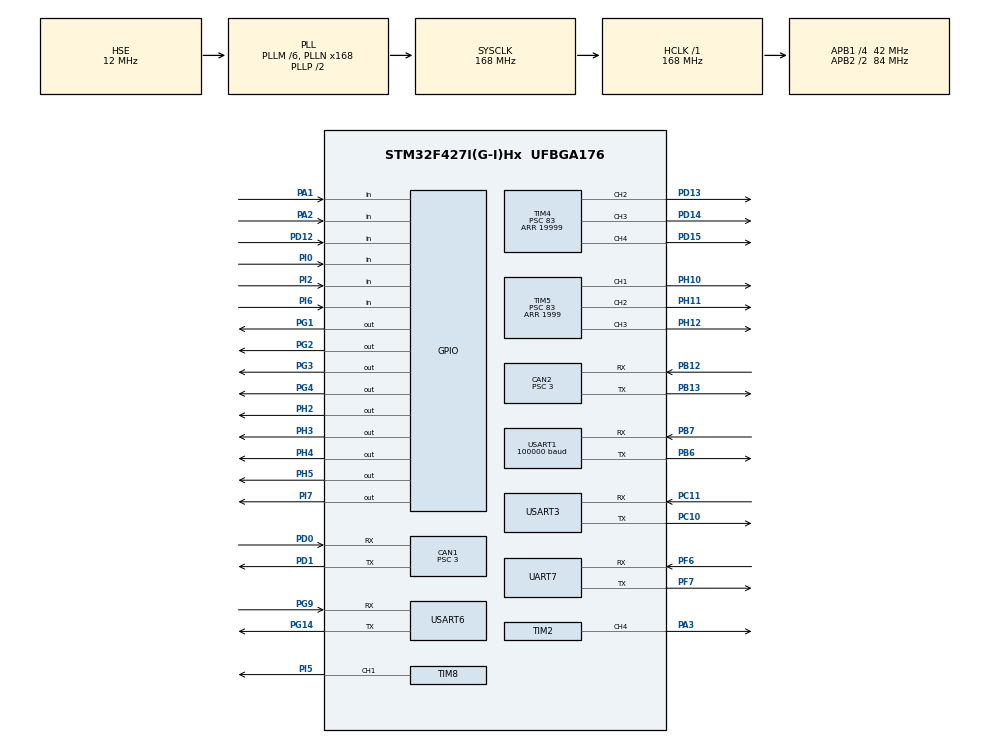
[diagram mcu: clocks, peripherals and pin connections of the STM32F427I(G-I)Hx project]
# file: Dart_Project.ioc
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CAN1.BS1=CAN_BS1_9TQ
CAN1.BS2=CAN_BS2_4TQ
CAN1.CalculateBaudRate=1000000
CAN1.CalculateTimeBit=1000
CAN1.CalculateTimeQuantum=71.42857142857143
CAN1.Prescaler=3
CAN2.BS1=CAN_BS1_9TQ
CAN2.BS2=CAN_BS2_4TQ
CAN2.CalculateBaudRate=1000000
CAN2.CalculateTimeBit=1000
CAN2.CalculateTimeQuantum=71.42857142857143
CAN2.Prescaler=3
Dma.Request0=USART1_RX
Dma.Request1=USART3_RX
Dma.Request2=USART6_RX
Dma.USART1_RX.0.Direction=DMA_PERIPH_TO_MEMORY
Dma.USART1_RX.0.FIFOMode=DMA_FIFOMODE_DISABLE
Dma.USART1_RX.0.Instance=DMA2_Stream2
Dma.USART1_RX.0.MemDataAlignment=DMA_MDATAALIGN_BYTE
Dma.USART1_RX.0.MemInc=DMA_MINC_ENABLE
Dma.USART1_RX.0.Mode=DMA_CIRCULAR
Dma.USART1_RX.0.PeriphDataAlignment=DMA_PDATAALIGN_BYTE
Dma.USART1_RX.0.PeriphInc=DMA_PINC_DISABLE
Dma.USART1_RX.0.Priority=DMA_PRIORITY_LOW
Dma.USART3_RX.1.Direction=DMA_PERIPH_TO_MEMORY
Dma.USART3_RX.1.FIFOMode=DMA_FIFOMODE_DISABLE
Dma.USART3_RX.1.Instance=DMA1_Stream1
Dma.USART3_RX.1.MemDataAlignment=DMA_MDATAALIGN_BYTE
Dma.USART3_RX.1.MemInc=DMA_MINC_ENABLE
Dma.USART3_RX.1.Mode=DMA_CIRCULAR
Dma.USART3_RX.1.PeriphDataAlignment=DMA_PDATAALIGN_BYTE
Dma.USART3_RX.1.PeriphInc=DMA_PINC_DISABLE
Dma.USART3_RX.1.Priority=DMA_PRIORITY_LOW
Dma.USART6_RX.2.Direction=DMA_PERIPH_TO_MEMORY
Dma.USART6_RX.2.FIFOMode=DMA_FIFOMODE_DISABLE
Dma.USART6_RX.2.Instance=DMA2_Stream1
Dma.USART6_RX.2.MemDataAlignment=DMA_MDATAALIGN_BYTE
Dma.USART6_RX.2.MemInc=DMA_MINC_ENABLE
Dma.USART6_RX.2.Mode=DMA_CIRCULAR
Dma.USART6_RX.2.PeriphDataAlignment=DMA_PDATAALIGN_BYTE
Dma.USART6_RX.2.PeriphInc=DMA_PINC_DISABLE
Dma.USART6_RX.2.Priority=DMA_PRIORITY_LOW
FREERTOS.Tasks01=Chassis_TASK,0,256,Chassis_Task,Default,NULL,Dynamic,NULL,NULL;Shoot_TASK,0,256,Shoot_Task,Default,NULL,Dynamic,NULL,NULL;Decide_TASK,-3,256,Decide_Task,Default,NULL,Dynamic,NULL,NULL;guangdian,-3,128,StartTask04,Default,NULL,Dynamic,NULL,NULL;shoot_part,-3,128,StartTask05,Default,NULL,Dynamic,NULL,NULL
Mcu.Family=STM32F4
Mcu.Name=STM32F427I(G-I)Hx
Mcu.Package=UFBGA176
NVIC.CAN1_RX0_IRQn=true\:5\:0\:false\:false\:true\:true\:true\:true\:true
NVIC.CAN1_RX1_IRQn=true\:5\:0\:false\:false\:true\:true\:true\:true\:true
NVIC.CAN2_RX0_IRQn=true\:5\:0\:false\:false\:true\:true\:true\:true\:true
NVIC.CAN2_RX1_IRQn=true\:5\:0\:false\:false\:true\:true\:true\:true\:true
NVIC.DMA1_Stream1_IRQn=true\:5\:0\:false\:false\:true\:true\:false\:true\:true
NVIC.DMA2_Stream1_IRQn=true\:5\:0\:false\:false\:true\:true\:false\:true\:true
NVIC.DMA2_Stream2_IRQn=true\:5\:0\:false\:false\:true\:true\:false\:true\:true
NVIC.PriorityGroup=NVIC_PRIORITYGROUP_4
NVIC.TIM2_IRQn=true\:5\:0\:false\:false\:true\:true\:true\:true\:true
NVIC.TIM6_DAC_IRQn=true\:15\:0\:false\:false\:true\:false\:false\:true\:true
NVIC.TIM8_CC_IRQn=true\:5\:0\:false\:false\:true\:true\:true\:true\:true
NVIC.TimeBase=TIM6_DAC_IRQn
NVIC.TimeBaseIP=TIM6
NVIC.UART7_IRQn=true\:5\:0\:false\:false\:true\:true\:true\:true\:true
NVIC.USART1_IRQn=true\:5\:0\:false\:false\:true\:true\:true\:true\:true
NVIC.USART3_IRQn=true\:5\:0\:false\:false\:true\:true\:true\:true\:true
NVIC.USART6_IRQn=true\:5\:0\:false\:false\:true\:true\:true\:true\:true
PA1.GPIO_PuPd=GPIO_PULLUP
PA1.Signal=GPIO_Input
PA13.Mode=Serial_Wire
PA13.Signal=SYS_JTMS-SWDIO
PA14.Mode=Serial_Wire
PA14.Signal=SYS_JTCK-SWCLK
PA2.GPIO_PuPd=GPIO_PULLUP
PA2.Signal=GPIO_Input
PA3.Signal=S_TIM2_CH4
PB12.Mode=CAN_Activate
PB12.Signal=CAN2_RX
PB13.Mode=CAN_Activate
PB13.Signal=CAN2_TX
PB6.Mode=Asynchronous
PB6.Signal=USART1_TX
PB7.Mode=Asynchronous
PB7.Signal=USART1_RX
PC10.Mode=Asynchronous
PC10.Signal=USART3_TX
PC11.Mode=Asynchronous
PC11.Signal=USART3_RX
PD0.Mode=CAN_Activate
PD0.Signal=CAN1_RX
PD1.Mode=CAN_Activate
PD1.Signal=CAN1_TX
PD12.GPIO_PuPd=GPIO_PULLUP
PD12.Signal=GPIO_Input
PD13.Signal=S_TIM4_CH2
PD14.Signal=S_TIM4_CH3
PD15.Signal=S_TIM4_CH4
PF6.Mode=Asynchronous
PF6.Signal=UART7_RX
PF7.Mode=Asynchronous
PF7.Signal=UART7_TX
PG1.PinState=GPIO_PIN_SET
PG1.Signal=GPIO_Output
PG14.Mode=Asynchronous
PG14.Signal=USART6_TX
PG2.PinState=GPIO_PIN_SET
PG2.Signal=GPIO_Output
PG3.Signal=GPIO_Output
PG4.PinState=GPIO_PIN_SET
PG4.Signal=GPIO_Output
PG9.Mode=Asynchronous
PG9.Signal=USART6_RX
PH0/OSC_IN.Mode=HSE-External-Oscillator
PH0/OSC_IN.Signal=RCC_OSC_IN
PH1/OSC_OUT.Mode=HSE-External-Oscillator
PH1/OSC_OUT.Signal=RCC_OSC_OUT
PH10.Signal=S_TIM5_CH1
PH11.Signal=S_TIM5_CH2
PH12.Signal=S_TIM5_CH3
PH2.PinState=GPIO_PIN_SET
PH2.Signal=GPIO_Output
PH3.PinState=GPIO_PIN_SET
PH3.Signal=GPIO_Output
PH4.PinState=GPIO_PIN_SET
PH4.Signal=GPIO_Output
PH5.PinState=GPIO_PIN_SET
PH5.Signal=GPIO_Output
PI0.GPIO_PuPd=GPIO_PULLUP
PI0.Signal=GPIO_Input
PI2.GPIO_PuPd=GPIO_PULLUP
PI2.Signal=GPIO_Input
PI5.Signal=S_TIM8_CH1
PI6.GPIO_PuPd=GPIO_PULLUP
PI6.Signal=GPIO_Input
PI7.Signal=GPIO_Output
ProjectManager.HeapSize=0x200
ProjectManager.StackSize=0x400
ProjectManager.TargetToolchain=MDK-ARM V5.32
RCC.48MHZClocksFreq_Value=84000000
RCC.AHBFreq_Value=168000000
RCC.APB1CLKDivider=RCC_HCLK_DIV4
RCC.APB1Freq_Value=42000000
RCC.APB1TimFreq_Value=84000000
RCC.APB2CLKDivider=RCC_HCLK_DIV2
RCC.APB2Freq_Value=84000000
RCC.APB2TimFreq_Value=168000000
RCC.CortexFreq_Value=168000000
RCC.HCLKFreq_Value=168000000
RCC.HSE_VALUE=12000000
RCC.HSI_VALUE=16000000
RCC.LSE_VALUE=32768
RCC.PLLM=6
RCC.PLLN=168
RCC.PLLSourceVirtual=RCC_PLLSOURCE_HSE
RCC.SYSCLKFreq_VALUE=168000000
RCC.SYSCLKSource=RCC_SYSCLKSOURCE_PLLCLK
RCC.VCOOutputFreq_Value=336000000
SH.S_TIM2_CH4.0=TIM2_CH4,PWM Generation4 CH4
SH.S_TIM4_CH2.0=TIM4_CH2,PWM Generation2 CH2
SH.S_TIM4_CH3.0=TIM4_CH3,PWM Generation3 CH3
SH.S_TIM4_CH4.0=TIM4_CH4,PWM Generation4 CH4
SH.S_TIM5_CH1.0=TIM5_CH1,PWM Generation1 CH1
SH.S_TIM5_CH2.0=TIM5_CH2,PWM Generation2 CH2
SH.S_TIM5_CH3.0=TIM5_CH3,PWM Generation3 CH3
SH.S_TIM8_CH1.0=TIM8_CH1,PWM Generation1 CH1
TIM2.Channel-PWM\ Generation4\ CH4=TIM_CHANNEL_4
TIM2.Period=499
TIM2.Prescaler=83
TIM4.Channel-PWM\ Generation2\ CH2=TIM_CHANNEL_2
TIM4.Channel-PWM\ Generation3\ CH3=TIM_CHANNEL_3
TIM4.Channel-PWM\ Generation4\ CH4=TIM_CHANNEL_4
TIM4.Period=19999
TIM4.Prescaler=83
TIM5.Channel-PWM\ Generation1\ CH1=TIM_CHANNEL_1
TIM5.Channel-PWM\ Generation2\ CH2=TIM_CHANNEL_2
TIM5.Channel-PWM\ Generation3\ CH3=TIM_CHANNEL_3
TIM5.Period=1999
TIM5.Prescaler=83
TIM8.Channel-PWM\ Generation1\ CH1=TIM_CHANNEL_1
TIM8.Period=1999
TIM8.Prescaler=83
UART7.VirtualMode=Asynchronous
USART1.BaudRate=100000
USART1.Parity=PARITY_EVEN
USART1.VirtualMode=VM_ASYNC
USART3.VirtualMode=VM_ASYNC
USART6.VirtualMode=VM_ASYNC
VP_FREERTOS_VS_CMSIS_V1.Mode=CMSIS_V1
VP_SYS_VS_tim6.Mode=TIM6
board=custom

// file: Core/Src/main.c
/* USER CODE BEGIN Header */
/**
  ******************************************************************************
  * @file           : main.c
  * @brief          : Main program body
  ******************************************************************************
  * @attention
  *
  * <h2><center>&copy; Copyright (c) 2021 STMicroelectronics.
  * All rights reserved.</center></h2>
  *
  * This software component is licensed by ST under Ultimate Liberty license
  * SLA0044, the "License"; You may not use this file except in compliance with
  * the License. You may obtain a copy of the License at:
  *                             www.st.com/SLA0044
  *
  ******************************************************************************
  */
/* USER CODE END Header */
#include "main.h"
#include "cmsis_os.h"
#include "can.h"
#include "dma.h"
#include "tim.h"
#include "usart.h"
#include "gpio.h"

/* USER CODE BEGIN Includes */
#include "remote_control.h"
#include "Can_receive.h"
#include "stdio.h"

/* USER CODE END Includes */

void SystemClock_Config(void);
void MX_FREERTOS_Init(void);

int main(void)
{

  /* MCU Configuration--------------------------------------------------------*/

  /* Reset of all peripherals, Initializes the Flash interface and the Systick. */
  HAL_Init();

  /* Configure the system clock */
  SystemClock_Config();

  /* Initialize all configured peripherals */
  MX_GPIO_Init();
  MX_DMA_Init();
  MX_CAN1_Init();
  MX_USART1_UART_Init();
  MX_USART3_UART_Init();
  MX_USART6_UART_Init();
  MX_TIM5_Init();
  MX_CAN2_Init();
  MX_TIM4_Init();
  MX_TIM8_Init();
  MX_TIM2_Init();
  MX_UART7_Init();
  /* USER CODE BEGIN 2 */
	canfilter_init_start();
	remote_control_init();

	HAL_TIM_PWM_Start_IT(&htim2,TIM_CHANNEL_4);
	HAL_TIM_PWM_Start_IT(&htim8,TIM_CHANNEL_1);

	HAL_TIM_PWM_Start(&htim5,TIM_CHANNEL_1);  //SNAIL
	HAL_TIM_PWM_Start(&htim5,TIM_CHANNEL_2);
	HAL_TIM_PWM_Start(&htim5,TIM_CHANNEL_3);
	HAL_TIM_PWM_Start(&htim5,TIM_CHANNEL_4);

//	HAL_TIM_PWM_Start(&htim4,TIM_CHANNEL_1);  //舵机
//	HAL_TIM_PWM_Start(&htim4,TIM_CHANNEL_2);
//	HAL_TIM_PWM_Start(&htim4,TIM_CHANNEL_3);
//	HAL_TIM_PWM_Start(&htim4,TIM_CHANNEL_4);

	HAL_TIM_PWM_Start(&htim8,TIM_CHANNEL_1);
	HAL_TIM_PWM_Start(&htim2,TIM_CHANNEL_4);

	__HAL_TIM_SetCompare(&htim5,TIM_CHANNEL_1,940);
	__HAL_TIM_SetCompare(&htim5,TIM_CHANNEL_2,940);
	__HAL_TIM_SetCompare(&htim5,TIM_CHANNEL_3,940);
	__HAL_TIM_SetCompare(&htim5,TIM_CHANNEL_4,940);

	__HAL_TIM_SetCompare(&htim8,TIM_CHANNEL_1,249);
	__HAL_TIM_SetCompare(&htim2,TIM_CHANNEL_4,249);

	//HAL_Delay(7000);

  /* USER CODE END 2 */

  /* Call init function for freertos objects (in freertos.c) */
  MX_FREERTOS_Init();
  /* Start scheduler */
  osKernelStart();

  /* We should never get here as control is now taken by the scheduler */
  /* Infinite loop */
  while (1)
  {

  }
}

void SystemClock_Config(void)
{
  RCC_OscInitTypeDef RCC_OscInitStruct = {0};
  RCC_ClkInitTypeDef RCC_ClkInitStruct = {0};

  /** Configure the main internal regulator output voltage
  */
  __HAL_RCC_PWR_CLK_ENABLE();
  __HAL_PWR_VOLTAGESCALING_CONFIG(PWR_REGULATOR_VOLTAGE_SCALE1);
  /** Initializes the RCC Oscillators according to the specified parameters
  * in the RCC_OscInitTypeDef structure.
  */
  RCC_OscInitStruct.OscillatorType = RCC_OSCILLATORTYPE_HSE;
  RCC_OscInitStruct.HSEState = RCC_HSE_ON;
  RCC_OscInitStruct.PLL.PLLState = RCC_PLL_ON;
  RCC_OscInitStruct.PLL.PLLSource = RCC_PLLSOURCE_HSE;
  RCC_OscInitStruct.PLL.PLLM = 6;
  RCC_OscInitStruct.PLL.PLLN = 168;
  RCC_OscInitStruct.PLL.PLLP = RCC_PLLP_DIV2;
  RCC_OscInitStruct.PLL.PLLQ = 4;
  if (HAL_RCC_OscConfig(&RCC_OscInitStruct) != HAL_OK)
  {
    Error_Handler();
  }
  /** Initializes the CPU, AHB and APB buses clocks
  */
  RCC_ClkInitStruct.ClockType = RCC_CLOCKTYPE_HCLK|RCC_CLOCKTYPE_SYSCLK
                              |RCC_CLOCKTYPE_PCLK1|RCC_CLOCKTYPE_PCLK2;
  RCC_ClkInitStruct.SYSCLKSource = RCC_SYSCLKSOURCE_PLLCLK;
  RCC_ClkInitStruct.AHBCLKDivider = RCC_SYSCLK_DIV1;
  RCC_ClkInitStruct.APB1CLKDivider = RCC_HCLK_DIV4;
  RCC_ClkInitStruct.APB2CLKDivider = RCC_HCLK_DIV2;

  if (HAL_RCC_ClockConfig(&RCC_ClkInitStruct, FLASH_LATENCY_5) != HAL_OK)
  {
    Error_Handler();
  }
}

/* USER CODE BEGIN 4 */
void vofa_justfloat(UART_HandleTypeDef* huart, fp32* fdata, uint16_t count)
{
	// 最多支持长度为6的float数组
	uint8_t data[40];
	int i = 0;
	for (i=0;i<count*4;i++)
		data[i] = ((uint8_t*)fdata)[i];
	data[i++] = 0;data[i++] = 0;data[i++] = 0x80;data[i++] = 0x7f;
	HAL_UART_Transmit(huart, data, count*4+4, 100);
}

#pragma import(__use_no_semihosting)

struct __FILE
{
	int handle;
};

FILE __stdout;
void _sys_exit(int x)
{
	x = x;
}

int fputc(int ch,FILE *f)
{
	while((USART6->SR&0x40)==0);
	USART6->DR = (int16_t) ch;
	return ch;
}

/* USER CODE END 4 */

void HAL_TIM_PeriodElapsedCallback(TIM_HandleTypeDef *htim)
{
  if (htim->Instance == TIM6) {
    HAL_IncTick();
  }
}

void Error_Handler(void)
{
  __disable_irq();
  while (1)
  {
  }
}

/************************ (C) COPYRIGHT STMicroelectronics *****END OF FILE****/

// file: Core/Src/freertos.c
/* USER CODE BEGIN Header */
/**
  ******************************************************************************
  * File Name          : freertos.c
  * Description        : Code for freertos applications
  ******************************************************************************
  * @attention
  *
  * <h2><center>&copy; Copyright (c) 2021 STMicroelectronics.
  * All rights reserved.</center></h2>
  *
  * This software component is licensed by ST under Ultimate Liberty license
  * SLA0044, the "License"; You may not use this file except in compliance with
  * the License. You may obtain a copy of the License at:
  *                             www.st.com/SLA0044
  *
  ******************************************************************************
  */
/* USER CODE END Header */

#include "FreeRTOS.h"
#include "task.h"
#include "main.h"
#include "cmsis_os.h"

/* USER CODE BEGIN Includes */
#include "chassis_task.h"
#include "shoot_task.h"
#include "switch.h"
#include "Can_receive.h"
#include "shoot.h"
#include "remote_control.h"
#include "usart.h"
/* USER CODE END Includes */

/* USER CODE BEGIN PTD */
switch_flag swflag;
switch_flag flag;
int k1 = 0;
const Revice_Motro_Data *motor_data_rtos;
float vofa[6];
double Len;
int out;
const RC_ctrl_t *rc_ctrl_rtos;
int z_f;
int BF;
/* USER CODE END PTD */

osThreadId Chassis_TASKHandle;
osThreadId Shoot_TASKHandle;
osThreadId Decide_TASKHandle;
osThreadId guangdianHandle;
osThreadId shoot_partHandle;

void Chassis_Task(void const * argument);
void Shoot_Task(void const * argument);
void Decide_Task(void const * argument);
void StartTask04(void const * argument);
void StartTask05(void const * argument);

void MX_FREERTOS_Init(void); /* (MISRA C 2004 rule 8.1) */

/* GetIdleTaskMemory prototype (linked to static allocation support) */
void vApplicationGetIdleTaskMemory( StaticTask_t **ppxIdleTaskTCBBuffer, StackType_t **ppxIdleTaskStackBuffer, uint32_t *pulIdleTaskStackSize );

/* USER CODE BEGIN GET_IDLE_TASK_MEMORY */
static StaticTask_t xIdleTaskTCBBuffer;
static StackType_t xIdleStack[configMINIMAL_STACK_SIZE];

void vApplicationGetIdleTaskMemory( StaticTask_t **ppxIdleTaskTCBBuffer, StackType_t **ppxIdleTaskStackBuffer, uint32_t *pulIdleTaskStackSize )
{
  *ppxIdleTaskTCBBuffer = &xIdleTaskTCBBuffer;
  *ppxIdleTaskStackBuffer = &xIdleStack[0];
  *pulIdleTaskStackSize = configMINIMAL_STACK_SIZE;
  /* place for user code */
}
/* USER CODE END GET_IDLE_TASK_MEMORY */

void MX_FREERTOS_Init(void) {

  /* Create the thread(s) */
  /* definition and creation of Chassis_TASK */
  osThreadDef(Chassis_TASK, Chassis_Task, osPriorityNormal, 0, 256);
  Chassis_TASKHandle = osThreadCreate(osThread(Chassis_TASK), NULL);

  /* definition and creation of Shoot_TASK */
  osThreadDef(Shoot_TASK, Shoot_Task, osPriorityNormal, 0, 256);
  Shoot_TASKHandle = osThreadCreate(osThread(Shoot_TASK), NULL);

  /* definition and creation of Decide_TASK */
  osThreadDef(Decide_TASK, Decide_Task, osPriorityIdle, 0, 256);
  Decide_TASKHandle = osThreadCreate(osThread(Decide_TASK), NULL);

  /* definition and creation of guangdian */
  osThreadDef(guangdian, StartTask04, osPriorityIdle, 0, 128);
  guangdianHandle = osThreadCreate(osThread(guangdian), NULL);

  /* definition and creation of shoot_part */
  osThreadDef(shoot_part, StartTask05, osPriorityIdle, 0, 128);
  shoot_partHandle = osThreadCreate(osThread(shoot_part), NULL);

}

void Chassis_Task(void const * argument)
{
  /* USER CODE BEGIN Chassis_Task */
	chassis_task_Init();
  /* Infinite loop */
  for(;;)
  {
		chassis_task();
    osDelay(2);
  }
  /* USER CODE END Chassis_Task */
}

void Shoot_Task(void const * argument)
{
  /* USER CODE BEGIN Shoot_Task */
	shoot_task_Init();
  /* Infinite loop */
  for(;;)
  {
		shoot_task();
		osDelay(2);
  }
  /* USER CODE END Shoot_Task */
}

void Decide_Task(void const * argument)
{
  /* USER CODE BEGIN Decide_Task */
  /* Infinite loop */
  for(;;)
  {
    osDelay(2);
  }
  /* USER CODE END Decide_Task */
}

void StartTask04(void const * argument)
{
  /* USER CODE BEGIN StartTask04 */
	(void)argument;

	/* 拉绳电机控制器使用第一个外侧发射电机的反馈数据。 */
	motor_data_rtos = Back_OutsideShoot_Data(0);
	shootint(motor_data_rtos);

  /* Infinite loop */
  for(;;)
  {
		/* VOFA 调试输出：HAL_UART_Transmit 是阻塞发送，115200 下 28 字节约 2.4 ms，
		 * 加上 osDelay(2)，实际控制周期约 4.4 ms。 */
		z_f = read_flag();
		rc_ctrl_rtos = get_remote_control_point();

		vofa[0] = z_f;
		vofa[1] = 0;
		vofa[2] = 0;
		vofa[3] = 0;
		vofa[4] = 0;
		vofa[5] = 0;
		vofa_justfloat(&huart7, vofa, 6);

		out = shoottask(motor_data_rtos, 800);

		/* 发送 CAN 电流前先判断遥控急停，急停优先级最高。 */
		if (rc_ctrl_rtos->rc.s[0] == RC_SW_DOWN)
		{
			CAN_cmd_shoot(0, 0, 0, 0);
		}
		else
		{
			CAN_cmd_shoot(out, 0, 0, 0);
		}

    osDelay(2);
  }
  /* USER CODE END StartTask04 */
}

void StartTask05(void const * argument)
{
  /* USER CODE BEGIN StartTask05 */
	(void)argument;

  /* Infinite loop */
  for(;;)
  {
    osDelay(2);
  }
  /* USER CODE END StartTask05 */
}

/************************ (C) COPYRIGHT STMicroelectronics *****END OF FILE****/
